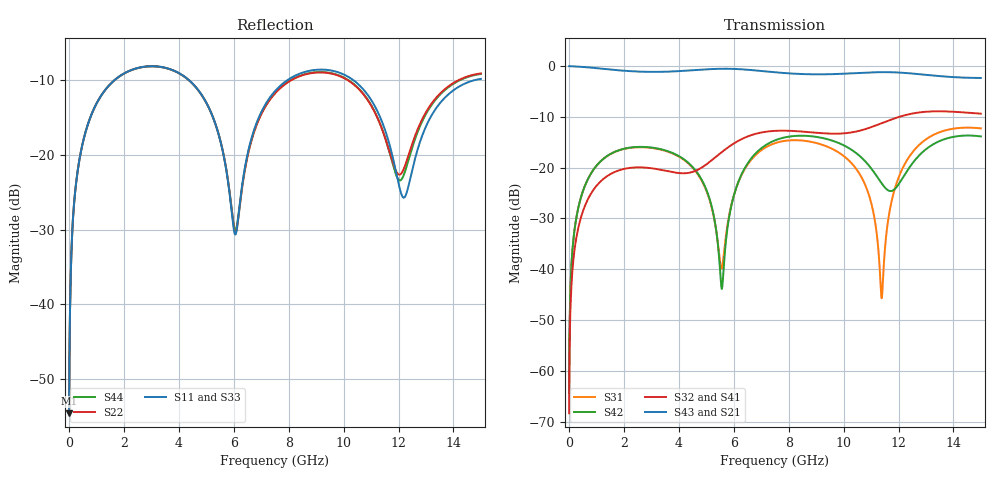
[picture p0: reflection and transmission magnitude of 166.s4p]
! Created with skrf 1.8.0 (http://scikit-rf.org).
# GHz S RI R 50.0
!freq ReS11 ImS11 ReS12 ImS12 ReS13 ImS13
! ReS14 ImS14
! ReS21 ImS21 ReS22 ImS22 ReS23 ImS23
! ReS24 ImS24
! ReS31 ImS31 ReS32 ImS32 ReS33 ImS33
! ReS34 ImS34
! ReS41 ImS41 ReS42 ImS42 ReS43 ImS43
! ReS44 ImS44
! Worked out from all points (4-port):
!   2499 points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, 5 MHz to 15 GHz, reference 50 ohm
!   strongest paths, dB at 5 MHz, 3.476 GHz, 7.19 GHz, 11.1 GHz, 15 GHz:
!     S43: 0.0, -1.1, -1.1, -1.2, -2.3
!     S21: 0.0, -1.1, -1.1, -1.2, -2.4
!     S32: -68.4, -20.6, -12.9, -11.8, -9.4
!     S41: -68.4, -20.6, -12.9, -11.9, -9.4
!     S42: -64.4, -16.6, -15.5, -20.8, -13.9
!     S31: -64.4, -16.6, -15.9, -29.2, -12.3
!   lowest |S11| = -54.6 dB at 5 MHz (marker M1), VSWR 1.00, Z = 50.1 + j0.113 ohm
!   |S11| at or under -10 dB: start of sweep to 1.655 GHz; 4.372 GHz to 7.952 GHz (3.58 GHz wide, 58.1 % of centre); 10.36 GHz to 14.76 GHz (4.406 GHz wide, 35.1 % of centre)
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0.005  0.00148 0.00112  0.9985 -0.00289  7.44e-05 0.000601  -7.22e-05 -0.000374
       0.9985 -0.00289  0.00148 0.00112  -7.22e-05 -0.000374  7.44e-05 0.000601
       7.44e-05 0.000601  -7.22e-05 -0.000374  0.00148 0.00112  0.9985 -0.00289
       -7.22e-05 -0.000374  7.44e-05 0.000601  0.9985 -0.00289  0.00148 0.00112
0.3126303  0.0203 0.0746  0.9724 -0.1801  0.00926 0.036  -0.00775 -0.0223
           0.9724 -0.1801  0.0203 0.0746  -0.00775 -0.0223  0.00939 0.036
           0.00926 0.036  -0.00775 -0.0223  0.0203 0.0746  0.9724 -0.1801
           -0.00775 -0.0223  0.00939 0.036  0.9724 -0.1801  0.0203 0.0746
1.569404  0.2427 0.1864  0.6067 -0.6938  0.1189 0.0713  -0.0867 -0.0156
          0.6067 -0.6938  0.242 0.1869  -0.0868 -0.0155  0.1208 0.0692
          0.1189 0.0713  -0.0868 -0.0155  0.2426 0.1865  0.6067 -0.6938
          -0.0867 -0.0156  0.1208 0.0692  0.6067 -0.6938  0.242 0.1868
5.564819  0.053 -0.1001  -0.8869 -0.3153  -0.0102 -0.000552  -0.0444 0.1352
          -0.8869 -0.3153  0.0549 -0.0999  -0.0428 0.1358  -0.00638 -0.000523
          -0.0102 -0.000552  -0.0428 0.1358  0.052 -0.0997  -0.887 -0.3153
          -0.0444 0.1352  -0.00638 -0.000523  -0.887 -0.3153  0.0554 -0.099
9.47895  0.364 -0.0609  0.0308 0.8318  0.1462 -0.0598  0.2018 -0.0718
         0.0308 0.8318  0.35 -0.039  0.2023 -0.0771  0.1456 -0.1196
         0.1462 -0.0598  0.2023 -0.0771  0.3645 -0.0552  0.03 0.8314
         0.2018 -0.0718  0.1456 -0.1196  0.03 0.8314  0.3517 -0.0446
11.38599  0.1016 -0.1352  0.735 0.4701  0.00512 0.000747  0.1442 -0.2331
          0.735 0.4701  0.1131 -0.1003  0.1367 -0.2376  -0.0537 -0.0451
          0.00512 0.000747  0.1367 -0.2376  0.1088 -0.1333  0.7337 0.4715
          0.1442 -0.2331  -0.0537 -0.0451  0.7337 0.4715  0.1083 -0.1064
15  0.3219 0.0239  0.2527 -0.719  0.2201 -0.1042  -0.3364 -0.0338
    0.2527 -0.719  0.3505 0.019  -0.3394 -0.0234  0.1971 -0.0481
    0.2201 -0.1042  -0.3394 -0.0234  0.314 0.0244  0.2554 -0.7204
    -0.3364 -0.0338  0.1971 -0.0481  0.2554 -0.7204  0.3473 0.018
